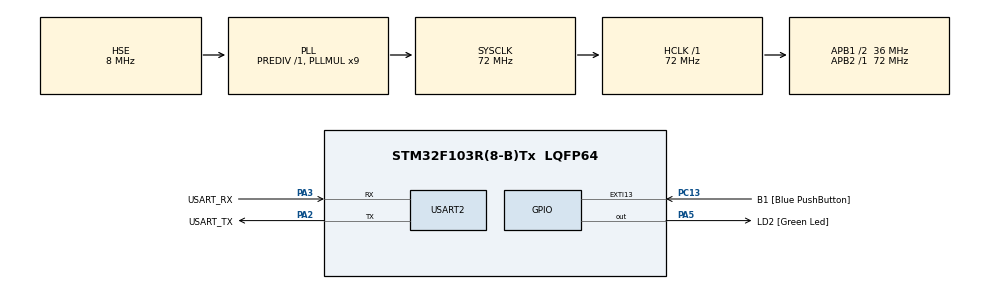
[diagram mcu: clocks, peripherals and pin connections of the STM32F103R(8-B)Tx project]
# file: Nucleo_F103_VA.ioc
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FREERTOS.Tasks01=defaultTask,24,128,StartDefaultTask,Default,NULL,Dynamic,NULL,NULL;myTask02,8,128,StartTask02,Default,NULL,Dynamic,NULL,NULL;myTask03,8,128,StartTask03,Default,NULL,Dynamic,NULL,NULL;myTask04,8,128,StartTask04,Default,NULL,Dynamic,NULL,NULL;myTask05,8,128,StartTask05,Default,NULL,Dynamic,NULL,NULL;myTask06,8,128,StartTask06,Default,NULL,Dynamic,NULL,NULL;myTask07,8,128,StartTask07,Default,NULL,Dynamic,NULL,NULL;myTask08,8,128,StartTask08,Default,NULL,Dynamic,NULL,NULL
FREERTOS.configGENERATE_RUN_TIME_STATS=1
FREERTOS.configRECORD_STACK_HIGH_ADDRESS=1
FREERTOS.configTOTAL_HEAP_SIZE=10000
Mcu.Family=STM32F1
Mcu.Name=STM32F103R(8-B)Tx
Mcu.Package=LQFP64
NVIC.EXTI15_10_IRQn=true\:5\:0\:false\:false\:true\:true\:true\:true\:true
NVIC.PriorityGroup=NVIC_PRIORITYGROUP_4
NVIC.TIM4_IRQn=true\:15\:0\:false\:false\:true\:false\:false\:true\:true
NVIC.TimeBase=TIM4_IRQn
NVIC.TimeBaseIP=TIM4
PA13.GPIO_Label=TMS
PA13.Mode=Serial_Wire
PA13.Signal=SYS_JTMS-SWDIO
PA14.GPIO_Label=TCK
PA14.Mode=Serial_Wire
PA14.Signal=SYS_JTCK-SWCLK
PA2.GPIO_Label=USART_TX
PA2.GPIO_Mode=GPIO_MODE_AF_PP
PA2.GPIO_PuPd=GPIO_NOPULL
PA2.GPIO_Speed=GPIO_SPEED_FREQ_LOW
PA2.Mode=Asynchronous
PA2.Signal=USART2_TX
PA3.GPIO_Label=USART_RX
PA3.GPIO_Mode=GPIO_MODE_AF_PP
PA3.GPIO_PuPd=GPIO_NOPULL
PA3.GPIO_Speed=GPIO_SPEED_FREQ_LOW
PA3.Mode=Asynchronous
PA3.Signal=USART2_RX
PA5.GPIO_Label=LD2 [Green Led]
PA5.GPIO_ModeDefaultOutputPP=GPIO_MODE_OUTPUT_PP
PA5.GPIO_PuPd=GPIO_NOPULL
PA5.GPIO_Speed=GPIO_SPEED_FREQ_LOW
PA5.Signal=GPIO_Output
PB3.GPIO_Label=SWO
PB3.Signal=SYS_JTDO-TRACESWO
PC13-TAMPER-RTC.GPIO_Label=B1 [Blue PushButton]
PC13-TAMPER-RTC.GPIO_PuPd=GPIO_NOPULL
PC13-TAMPER-RTC.Signal=GPXTI13
PC14-OSC32_IN.Mode=LSE-External-Oscillator
PC14-OSC32_IN.Signal=RCC_OSC32_IN
PC15-OSC32_OUT.Mode=LSE-External-Oscillator
PC15-OSC32_OUT.Signal=RCC_OSC32_OUT
PD0-OSC_IN.Mode=HSE-External-Clock-Source
PD0-OSC_IN.Signal=RCC_OSC_IN
PD1-OSC_OUT.Mode=HSE-External-Clock-Source
PD1-OSC_OUT.Signal=RCC_OSC_OUT
ProjectManager.HeapSize=0x200
ProjectManager.StackSize=0x400
ProjectManager.TargetToolchain=CMake
RCC.AHBFreq_Value=72000000
RCC.APB1CLKDivider=RCC_HCLK_DIV2
RCC.APB1Freq_Value=36000000
RCC.APB1TimFreq_Value=72000000
RCC.APB2Freq_Value=72000000
RCC.APB2TimFreq_Value=72000000
RCC.HCLKFreq_Value=72000000
RCC.PLLMUL=RCC_PLL_MUL9
RCC.PLLSourceVirtual=RCC_PLLSOURCE_HSE
RCC.RTCClockSelection=RCC_RTCCLKSOURCE_LSE
RCC.SYSCLKFreq_VALUE=72000000
RCC.SYSCLKSource=RCC_SYSCLKSOURCE_PLLCLK
RCC.USBFreq_Value=72000000
USART2.VirtualMode=VM_ASYNC
VP_FREERTOS_VS_CMSIS_V2.Mode=CMSIS_V2
VP_SYS_VS_tim4.Mode=TIM4
board=NUCLEO-F103RB

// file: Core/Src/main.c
/* USER CODE BEGIN Header */
/**
 ******************************************************************************
 * @file           : main.c
 * @brief          : Main program body
 ******************************************************************************
 * @attention
 *
 * Copyright (c) 2025 STMicroelectronics.
 * All rights reserved.
 *
 * This software is licensed under terms that can be found in the LICENSE file
 * in the root directory of this software component.
 * If no LICENSE file comes with this software, it is provided AS-IS.
 *
 ******************************************************************************
 */
/* USER CODE END Header */
#include "main.h"
#include "cmsis_os.h"
#include "usart.h"
#include "gpio.h"

/* USER CODE BEGIN Includes */
#include "ViewAlyzer.h"
/* USER CODE END Includes */

void SystemClock_Config(void);
void MX_FREERTOS_Init(void);

/* USER CODE BEGIN 0 */
static void SWO_Init(uint32_t cpu_hz, uint32_t swo_baud, uint32_t port)
{
  // 0) DBG + GPIO
#ifdef DBGMCU_CR_TRACE_IOEN
  DBGMCU->CR |= DBGMCU_CR_TRACE_IOEN; // enable trace pins
#ifdef DBGMCU_CR_TRACE_MODE
  DBGMCU->CR &= ~DBGMCU_CR_TRACE_MODE; // 00 = async SWO (not sync TRACE)
#endif
#endif

  // 1) Enable trace fabric
  CoreDebug->DEMCR |= CoreDebug_DEMCR_TRCENA_Msk; // TRCENA

  // 2) Lock things down while we configure
#ifdef ITM_LAR
  ITM->LAR = 0xC5ACCE55;
#endif
  ITM->TCR = 0; // disable ITM while configuring
  ITM->TPR = 0; // allow all stimulus ports (unprivileged OK)
  ITM->TER = 0; // disable all ports for now

#ifdef DBGMCU_CR_TRACE_IOEN
  DBGMCU->CR |= DBGMCU_CR_TRACE_IOEN; // enable trace pins
#ifdef DBGMCU_CR_TRACE_MODE
  DBGMCU->CR &= ~DBGMCU_CR_TRACE_MODE; // 00b = async SWO (important!)
#endif
#endif

  // 3) TPIU for async NRZ @ exact baud
  uint32_t acpr = (swo_baud ? (cpu_hz / swo_baud) - 1u : 0u);
  TPI->ACPR = acpr;  // *** use the math; don't hard-code ***
  TPI->SPPR = 0x2;   // 2 = NRZ (UART) ; 1 = Manchester
  TPI->FFCR = 0x100; // disable continuous formatter
  TPI->CSPSR = 1;    // port size = 1 bit (good default)

  // 4) Enable your ITM port and the ITM itself
  ITM->TER = (1u << port);
  ITM->TCR = ITM_TCR_ITMENA_Msk; // *** ITMENA is bit 0 ***
                                 // optional: timestamps, sync:
                                 // ITM->TCR |= ITM_TCR_TSENA_Msk | ITM_TCR_SYNCENA_Msk;
}
/* USER CODE END 0 */

int main(void)
{

  /* MCU Configuration--------------------------------------------------------*/

  /* Reset of all peripherals, Initializes the Flash interface and the Systick. */
  HAL_Init();

  /* Configure the system clock */
  SystemClock_Config();

  /* Initialize all configured peripherals */
  MX_GPIO_Init();
  MX_USART2_UART_Init();
  /* USER CODE BEGIN 2 */
  HAL_Delay(1000);
  SWO_Init(SystemCoreClock, 2000000u, VA_ITM_PORT);
  VA_Init(SystemCoreClock);                                           // Initialize ViewAlyzer with 2 MHz SWO frequency
  VA_RegisterUserTrace(42, "Sine Wave", VA_USER_TYPE_HISTOGRAM);      // Task02: Sine value from sensor
  VA_RegisterUserTrace(43, "Tick Counter", VA_USER_TYPE_GRAPH);       // Task05: HAL tick counter
  VA_RegisterUserTrace(44, "Task08 Toggle", VA_USER_TYPE_TOGGLE);     // Task08: Function entry/exit toggle
  VA_RegisterUserFunction(45, "Custom Function");                     // Task08: Function timing
  VA_RegisterUserTrace(46, "Processed Data", VA_USER_TYPE_HISTOGRAM); // Task03: Processed sensor values
  VA_RegisterUserTrace(47, "Shared Counter", VA_USER_TYPE_COUNTER);   // Task05: Mutex-protected shared counter
  VA_RegisterUserTrace(48, "Protected Op", VA_USER_TYPE_GRAPH);       // Task07: Mutex-protected operation result
  VA_RegisterUserTrace(49, "Local Counter", VA_USER_TYPE_GRAPH);      // Task08: Local copy of shared counter
  VA_RegisterUserTrace(50, "Workload Profile", VA_USER_TYPE_BAR);     // WorkloadManager: Current profile index

  // Contention test task traces
  VA_RegisterUserTrace(51, "Low Prio Access", VA_USER_TYPE_COUNTER); // ContentionLow: How many times accessed mutex
  VA_RegisterUserTrace(52, "Med Prio Access", VA_USER_TYPE_COUNTER); // ContentionMed: How many times accessed mutex (-1 = timeout)
  VA_RegisterUserTrace(53, "High Prio Wait", VA_USER_TYPE_GRAPH);    // ContentionHigh: Wait time in ticks to get mutex

  /* USER CODE END 2 */

  /* Init scheduler */
  osKernelInitialize();

  /* Call init function for freertos objects (in cmsis_os2.c) */
  MX_FREERTOS_Init();

  /* Start scheduler */
  osKernelStart();

  /* We should never get here as control is now taken by the scheduler */

  /* Infinite loop */
  while (1)
  {

  }
}

void SystemClock_Config(void)
{
  RCC_OscInitTypeDef RCC_OscInitStruct = {0};
  RCC_ClkInitTypeDef RCC_ClkInitStruct = {0};

  /** Initializes the RCC Oscillators according to the specified parameters
   * in the RCC_OscInitTypeDef structure.
   */
  RCC_OscInitStruct.OscillatorType = RCC_OSCILLATORTYPE_HSE;
  RCC_OscInitStruct.HSEState = RCC_HSE_BYPASS;
  RCC_OscInitStruct.HSEPredivValue = RCC_HSE_PREDIV_DIV1;
  RCC_OscInitStruct.HSIState = RCC_HSI_ON;
  RCC_OscInitStruct.PLL.PLLState = RCC_PLL_ON;
  RCC_OscInitStruct.PLL.PLLSource = RCC_PLLSOURCE_HSE;
  RCC_OscInitStruct.PLL.PLLMUL = RCC_PLL_MUL9;
  if (HAL_RCC_OscConfig(&RCC_OscInitStruct) != HAL_OK)
  {
    Error_Handler();
  }

  /** Initializes the CPU, AHB and APB buses clocks
   */
  RCC_ClkInitStruct.ClockType = RCC_CLOCKTYPE_HCLK | RCC_CLOCKTYPE_SYSCLK | RCC_CLOCKTYPE_PCLK1 | RCC_CLOCKTYPE_PCLK2;
  RCC_ClkInitStruct.SYSCLKSource = RCC_SYSCLKSOURCE_PLLCLK;
  RCC_ClkInitStruct.AHBCLKDivider = RCC_SYSCLK_DIV1;
  RCC_ClkInitStruct.APB1CLKDivider = RCC_HCLK_DIV2;
  RCC_ClkInitStruct.APB2CLKDivider = RCC_HCLK_DIV1;

  if (HAL_RCC_ClockConfig(&RCC_ClkInitStruct, FLASH_LATENCY_2) != HAL_OK)
  {
    Error_Handler();
  }
}

void HAL_TIM_PeriodElapsedCallback(TIM_HandleTypeDef *htim)
{
  if (htim->Instance == TIM4)
  {
    HAL_IncTick();
  }
}

void Error_Handler(void)
{
  __disable_irq();
  while (1)
  {
  }
}

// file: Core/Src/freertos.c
/* USER CODE BEGIN Header */
/**
 ******************************************************************************
 * File Name          : freertos.c
 * Description        : Code for freertos applications - MODIFIED FOR TIMING TEST
 ******************************************************************************
 * @attention
 *
 * Copyright (c) 2025 STMicroelectronics.
 * All rights reserved.
 *
 * This software is licensed under terms that can be found in the LICENSE file
 * in the root directory of this software component.
 * If no LICENSE file comes with this software, it is provided AS-IS.
 *
 ******************************************************************************
 */
/* USER CODE END Header */

#include "FreeRTOS.h"
#include "task.h"
#include "main.h"
#include "queue.h"
#include "semphr.h"
#include "timers.h"
// Remove CMSIS-OS to use native FreeRTOS APIs
// #include "cmsis_os.h"

/* USER CODE BEGIN Includes */
#include "stdio.h"      // For printf
#include "ViewAlyzer.h" // For profiler functions
#include <math.h>
#include <stdlib.h> // For rand()

// Ensure DWT cycle counter is enabled *before* scheduler starts!
// Typically in main() before MX_FREERTOS_Init():
// CoreDebug->DEMCR |= CoreDebug_DEMCR_TRCENA_Msk;
// DWT->CTRL |= DWT_CTRL_CYCCNTENA_Msk;
// DWT->CYCCNT = 0; // Optional: Reset counter

#define GET_TIMESTAMP() (DWT->CYCCNT)
#define TIMESTAMP_FORMAT_STR "%lu" // Format specifier for uint32_t

// Define a workload size. Adjust this based on your CPU speed
// to get a measurable duration (e.g., microseconds to milliseconds).
// Start with a value like 100000 and adjust up or down.
#define WORKLOAD_ITERATIONS 1000

volatile uint16_t sineVal = 0;
volatile uint16_t invertedSineVal = 0;
volatile uint16_t sine_index = 0;
uint16_t get_next_sine_value(void)
{
  // Generate a sine wave value between 0 and 200
  // sine_index goes from 0 to 359 (degrees)
  float radians = (sine_index * 2.0f * (float)M_PI) / 360.0f;
  float sine = sinf(radians);                                   // -1.0 to 1.0
  volatile uint16_t value = (uint16_t)((sine + 1.0f) * 100.0f); // 0 to 200

  sine_index = (sine_index + 1) % 360;
  return value;
}

/* USER CODE END Includes */

/* USER CODE BEGIN Variables */
#define NUM_TASKS_TO_MANAGE 4 // Number of tasks whose workload we'll manage
volatile uint32_t task_workloads[NUM_TASKS_TO_MANAGE] = {1000, 1000, 1000, 1000}; // Default workloads

// Define some workload profiles for different phases
const uint32_t workload_profiles[][NUM_TASKS_TO_MANAGE] = {
    {4000, 1000, 1000, 6000}, // Profile 1: Task 2 busy, Task 8 very busy
    {1000, 4000, 6000, 1000}, // Profile 2: Task 5 busy, Task 7 very busy
    {6000, 6000, 1000, 1000}, // Profile 3: Task 2 and 5 busy
    {1000, 1000, 1000, 1000}, // Profile 4: Baseline workloads
    {2000, 5000, 3000, 4000}, // Profile 5: Mixed workloads
    {5000, 2000, 4000, 3000}, // Profile 6: Mixed workloads
    {3000, 4000, 2000, 5000}, // Profile 7: Mixed workloads
    {4000, 3000, 5000, 2000}  // Profile 8: Mixed workloads
};
#define NUM_PROFILES 8
volatile int current_profile = 0;

/* USER CODE END Variables */

// Native FreeRTOS handles - replacing CMSIS-OS types
TaskHandle_t defaultTaskHandle = NULL;
TaskHandle_t myTask02Handle = NULL;
TaskHandle_t myTask03Handle = NULL;
TaskHandle_t myTask04Handle = NULL;
TaskHandle_t myTask05Handle = NULL;
TaskHandle_t myTask06Handle = NULL;
TaskHandle_t myTask07Handle = NULL;
TaskHandle_t myTask08Handle = NULL;
TaskHandle_t workloadManagerTaskHandle = NULL;
TaskHandle_t contentionHighPrioTaskHandle = NULL;  // High priority contention test task
TaskHandle_t contentionMedPrioTaskHandle = NULL;   // Medium priority contention test task
TaskHandle_t contentionLowPrioTaskHandle = NULL;   // Low priority contention test task

// Native FreeRTOS synchronization objects
QueueHandle_t dataQueue = NULL;          // For passing data between tasks
QueueHandle_t commandQueue = NULL;       // For sending commands to WorkloadManager
SemaphoreHandle_t binarySemaphore = NULL;       // Binary semaphore for signaling
SemaphoreHandle_t countingSemaphore = NULL;     // Counting semaphore for resource counting
SemaphoreHandle_t sharedResourceMutex = NULL;   // Mutex for protecting shared resources
SemaphoreHandle_t printMutex = NULL;            // Mutex for protecting printf/debug output
SemaphoreHandle_t contentionTestMutex = NULL;   // Mutex specifically for testing contention tracking

// Data structures for queue communication
typedef struct {
    uint32_t sensorValue;
    uint32_t timestamp;
    uint8_t taskId;
} SensorData_t;

typedef struct {
    uint8_t profileIndex;
    uint32_t parameter;
} WorkloadCommand_t;

// Shared resources protected by mutex
volatile uint32_t sharedCounter = 0;
volatile float sharedAccumulator = 0.0f;

// Contention test variables
volatile uint32_t contentionCounter = 0;
volatile uint32_t highPrioAccess = 0;
volatile uint32_t medPrioAccess = 0;
volatile uint32_t lowPrioAccess = 0;

/* USER CODE BEGIN FunctionPrototypes */
extern void ITM_Print(const char *ptr); // Assuming you might use this
void StartTimingTestTask(void *argument);
void WorkloadManagerTask(void *argument);
/* USER CODE END FunctionPrototypes */

void StartDefaultTask(void *argument);
void StartTask02(void *argument);
void StartTask03(void *argument);
void StartTask04(void *argument);
void StartTask05(void *argument);
void StartTask06(void *argument);
void StartTask07(void *argument);
void StartTask08(void *argument);
void ContentionHighPrioTask(void *argument);
void ContentionMedPrioTask(void *argument);
void ContentionLowPrioTask(void *argument);

void MX_FREERTOS_Init(void); /* (MISRA C 2004 rule 8.1) */

/* Hook prototypes */
void configureTimerForRunTimeStats(void);
unsigned long getRunTimeCounterValue(void);

/* USER CODE BEGIN 1 */
/* Functions needed when configGENERATE_RUN_TIME_STATS is on */
__weak void configureTimerForRunTimeStats(void)
{
  // If using FreeRTOS Run Time Stats, ensure it's configured,
  // potentially using DWT as well, but separate from ViewAlyzer's direct use.
  // CoreDebug->DEMCR |= CoreDebug_DEMCR_TRCENA_Msk;
  // DWT->CTRL |= DWT_CTRL_CYCCNTENA_Msk;
}

__weak unsigned long getRunTimeCounterValue(void)
{
  // return DWT->CYCCNT; // If using DWT for run time stats
  return 0;
}
/* USER CODE END 1 */

void MX_FREERTOS_Init(void)
{
  /* USER CODE BEGIN Init */
  // --- IMPORTANT ---
  // Ensure DWT Cycle Counter is Enabled HERE or in main() before this function!
  // Example (should be done only once):
  // if (!(CoreDebug->DEMCR & CoreDebug_DEMCR_TRCENA_Msk)) { // Enable TRCENA
  //     CoreDebug->DEMCR |= CoreDebug_DEMCR_TRCENA_Msk;
  // }
  // if (!(DWT->CTRL & DWT_CTRL_CYCCNTENA_Msk)) { // Enable CYCCNT
  //     DWT->CTRL |= DWT_CTRL_CYCCNTENA_Msk;
  // }
  // DWT->CYCCNT = 0; // Optional reset
  // --- End Important ---

  /* USER CODE END Init */

  /* USER CODE BEGIN RTOS_MUTEX */
  // Create mutexes using native FreeRTOS API
  // Note: ViewAlyzer will automatically track these via trace macros
  sharedResourceMutex = xSemaphoreCreateMutex();
  printMutex = xSemaphoreCreateMutex();
  contentionTestMutex = xSemaphoreCreateMutex(); // Mutex for contention testing
  /* USER CODE END RTOS_MUTEX */

  /* USER CODE BEGIN RTOS_SEMAPHORES */
  // Create semaphores using native FreeRTOS API
  // Note: ViewAlyzer will automatically track these via trace macros
  binarySemaphore = xSemaphoreCreateBinary();
  countingSemaphore = xSemaphoreCreateCounting(5, 0); // Max 5 resources, start with 0
  /* USER CODE END RTOS_SEMAPHORES */

  /* Create the queue(s) */
  /* Create queues using native FreeRTOS API */
  // Note: ViewAlyzer will automatically track these via trace macros
  dataQueue = xQueueCreate(10, sizeof(SensorData_t));
  commandQueue = xQueueCreate(5, sizeof(WorkloadCommand_t));

  /* Create the thread(s) using native FreeRTOS API */
  xTaskCreate(StartDefaultTask, "DefaultTask", 128, NULL, tskIDLE_PRIORITY + 2, &defaultTaskHandle);
  xTaskCreate(StartTask02, "SensorTask", 128, NULL, tskIDLE_PRIORITY + 1, &myTask02Handle);
  xTaskCreate(StartTask03, "ProcessorTask", 128, NULL, tskIDLE_PRIORITY + 1, &myTask03Handle);
  xTaskCreate(StartTask04, "NotifierTask", 128, NULL, tskIDLE_PRIORITY + 1, &myTask04Handle);
  xTaskCreate(StartTask05, "StackTestTask", 256, NULL, tskIDLE_PRIORITY + 1, &myTask05Handle); // Larger stack for testing
  xTaskCreate(StartTask06, "ConsumerTask", 128, NULL, tskIDLE_PRIORITY + 1, &myTask06Handle);
  xTaskCreate(StartTask07, "WorkerTask", 128, NULL, tskIDLE_PRIORITY + 1, &myTask07Handle);
  xTaskCreate(StartTask08, "CalculatorTask", 128, NULL, tskIDLE_PRIORITY + 1, &myTask08Handle);
  xTaskCreate(WorkloadManagerTask, "WorkloadManager", 256, NULL, tskIDLE_PRIORITY + 3, &workloadManagerTaskHandle); // Higher priority

  // Contention test tasks with different priorities to showcase mutex contention tracking
  xTaskCreate(ContentionHighPrioTask, "ContentionHigh", 128, NULL, tskIDLE_PRIORITY + 5, &contentionHighPrioTaskHandle); // Highest priority
  xTaskCreate(ContentionMedPrioTask, "ContentionMed", 128, NULL, tskIDLE_PRIORITY + 3, &contentionMedPrioTaskHandle);    // Medium priority
  xTaskCreate(ContentionLowPrioTask, "ContentionLow", 128, NULL, tskIDLE_PRIORITY + 1, &contentionLowPrioTaskHandle);    // Low priority

}

void StartDefaultTask(void *argument)
{
  /* USER CODE BEGIN StartDefaultTask */
  for (;;)
  {
    // Release binary semaphore for other tasks to use
    if (binarySemaphore != NULL)
    {
      xSemaphoreGive(binarySemaphore);
    }

    // Give counting semaphore resources periodically
    if (countingSemaphore != NULL)
    {
      xSemaphoreGive(countingSemaphore);
      xSemaphoreGive(countingSemaphore);
    }

    // Send periodic commands to WorkloadManager
    if (commandQueue != NULL)
    {
      WorkloadCommand_t cmd = {
        .profileIndex = (HAL_GetTick() / 5000) % NUM_PROFILES, // Change profile every 5 seconds
        .parameter = HAL_GetTick()
      };

      // Try to send command (non-blocking)
      if (xQueueSend(commandQueue, &cmd, 0) == pdPASS)
      {
        // Command sent successfully
      }
    }

    vTaskDelay(pdMS_TO_TICKS(500)); // Use native FreeRTOS delay
  }
  /* USER CODE END StartDefaultTask */
}

void StartTask02(void *argument)
{
  /* USER CODE BEGIN StartTask02 */
  for (;;)
  {
    // Generate sensor data and send to queue
    sineVal = get_next_sine_value(); // Get next sine value
    VA_LogTrace(42, sineVal);    // Log the sine value trace

    // Create sensor data structure
    SensorData_t sensorData = {
      .sensorValue = sineVal,
      .timestamp = HAL_GetTick(),
      .taskId = 2
    };

    // Send data to queue for other tasks to process
    if (dataQueue != NULL)
    {
      if (xQueueSend(dataQueue, &sensorData, pdMS_TO_TICKS(10)) == pdPASS)
      {
        // Data sent successfully
      }
    }

    // Wait for notification from Task04
    ulTaskNotifyTake(pdTRUE, pdMS_TO_TICKS(1));

    // Dynamic workload
    volatile uint32_t workload = task_workloads[0];
    for (volatile uint32_t i = 0; i < workload; i++)
    {
      // Simple calculation to consume CPU time
      __NOP();
    }

    vTaskDelay(pdMS_TO_TICKS(10)); // Use native FreeRTOS delay
  }
  /* USER CODE END StartTask02 */
}

void StartTask03(void *argument)
{
  /* USER CODE BEGIN StartTask03 */
  SensorData_t receivedData;

  for (;;)
  {
    // Wait for data from queue (blocking with timeout)
    if (dataQueue != NULL)
    {
      if (xQueueReceive(dataQueue, &receivedData, pdMS_TO_TICKS(100)) == pdPASS)
      {
        // Process received sensor data
        // Use mutex to protect shared resource access
        if (xSemaphoreTake(sharedResourceMutex, pdMS_TO_TICKS(10)) == pdPASS)
        {
          sharedCounter++;
          sharedAccumulator += receivedData.sensorValue;
          xSemaphoreGive(sharedResourceMutex);
        }

        // Log processed data
        VA_LogTrace(46, receivedData.sensorValue);
      }
    }

    // Also wait for notification from Task 4
    ulTaskNotifyTake(pdTRUE, pdMS_TO_TICKS(1));
    vTaskDelay(pdMS_TO_TICKS(100));
  }
  /* USER CODE END StartTask03 */
}

void StartTask04(void *argument)
{
  /* USER CODE BEGIN StartTask04 */
  volatile uint32_t ulValue = 0; // Notification value to send
  for (;;)
  {
    // Send notifications to multiple tasks using native FreeRTOS API
    if (myTask08Handle != NULL)
    {
      xTaskNotify(myTask08Handle, ulValue++, eSetValueWithOverwrite);
    }
    if (myTask05Handle != NULL)
    {
      xTaskNotify(myTask05Handle, ulValue++, eSetValueWithOverwrite);
    }
    if (myTask03Handle != NULL)
    {
      xTaskNotify(myTask03Handle, ulValue++, eSetValueWithOverwrite);
    }
    if (myTask02Handle != NULL)
    {
      xTaskNotify(myTask02Handle, ulValue++, eSetValueWithOverwrite);
    }
    if (myTask06Handle != NULL)
    {
      xTaskNotify(myTask06Handle, ulValue++, eSetValueWithOverwrite);
    }

    vTaskDelay(pdMS_TO_TICKS(100)); // Use native FreeRTOS delay
  }
  /* USER CODE END StartTask04 */
}

void StartTask05(void *argument)
{
  /* USER CODE BEGIN StartTask05 */
  // Seed for simple pseudo-random number generation
  static uint32_t seed = 12345;

  for (;;)
  {
    // Generate a pseudo-random number to vary stack usage
    seed = seed * 1103515245 + 12345;            // Simple LCG
    uint32_t random_val = (seed >> 16) & 0x7FFF; // Get 15-bit value

    // Use random amount of stack (10 to 80 words, leaving safety margin)
    uint32_t stack_words = 10 + (random_val % 71); // 10-80 words

    // Create variable-sized array on stack to consume stack space
    // Note: This is a non-standard extension but works with GCC
    volatile uint32_t stack_consumer[stack_words];

    // Wait for notification from Task04
    ulTaskNotifyTake(pdTRUE, pdMS_TO_TICKS(1));

    // Write to the array to ensure it's actually allocated and used
    for (uint32_t i = 0; i < stack_words; i++)
    {
      stack_consumer[i] = i + HAL_GetTick();
    }

    // Do some computation with the array to prevent optimization
    volatile uint32_t sum = 0;
    for (uint32_t i = 0; i < stack_words; i++)
    {
      sum += stack_consumer[i];
    }

    // Use mutex to safely access shared resources
    if (xSemaphoreTake(sharedResourceMutex, pdMS_TO_TICKS(100)) == pdPASS)
    {
      sharedCounter += stack_words;
      sharedAccumulator += sum;

      // Log the shared counter value
      VA_LogTrace(47, sharedCounter);

      xSemaphoreGive(sharedResourceMutex);
    }

    // Dynamic workload
    volatile uint32_t workload = task_workloads[1];
    for (volatile uint32_t i = 0; i < workload; i++)
    {
      // Simple calculation to consume CPU time
      __NOP();
    }

    // Log the amount of stack used for debugging
    VA_LogTrace(43, HAL_GetTick()); // Log tick counter

    vTaskDelay(pdMS_TO_TICKS(10)); // Use native FreeRTOS delay
  }
  /* USER CODE END StartTask05 */
}

void StartTask06(void *argument)
{
  /* USER CODE BEGIN StartTask06 */
  for (;;)
  {
    // Wait for notification from Task04
    ulTaskNotifyTake(pdTRUE, pdMS_TO_TICKS(1));

    // Wait for binary semaphore from defaultTask
    if (binarySemaphore != NULL)
    {
      if (xSemaphoreTake(binarySemaphore, pdMS_TO_TICKS(1000)) == pdPASS)
      {
        // Do some work when semaphore is acquired
        // This will create timing events in the profiler
        volatile uint32_t work = 0;
        for (int i = 0; i < 1000; i++)
        {
          work += i;
        }

        // Try to take a counting semaphore resource
        if (countingSemaphore != NULL)
        {
          if (xSemaphoreTake(countingSemaphore, pdMS_TO_TICKS(10)) == pdPASS)
          {
            // Use the resource for some time
            vTaskDelay(pdMS_TO_TICKS(5));

            // Release the counting semaphore resource
            xSemaphoreGive(countingSemaphore);
          }
        }
      }
    }

    vTaskDelay(pdMS_TO_TICKS(10)); // Use native FreeRTOS delay
  }
  /* USER CODE END StartTask06 */
}

void StartTask07(void *argument)
{
  /* USER CODE BEGIN StartTask07 */
  for (;;)
  {
    // Use print mutex to safely output debug information
    if (xSemaphoreTake(printMutex, pdMS_TO_TICKS(100)) == pdPASS)
    {
      // Safe to use printf or other print functions here
      // In this case, we'll just do some computation to simulate protected operation
      volatile uint32_t protected_operation = HAL_GetTick() * 2;
      VA_LogTrace(48, protected_operation); // Log protected operation result

      xSemaphoreGive(printMutex);
    }

    // Dynamic workload
    volatile uint32_t workload = task_workloads[2];
    for (volatile uint32_t i = 0; i < workload; i++)
    {
      // Simple calculation to consume CPU time
      __NOP();
    }

    vTaskDelay(pdMS_TO_TICKS(100)); // Use native FreeRTOS delay
  }
  /* USER CODE END StartTask07 */
}

void StartTask08(void *argument)
{
  /* USER CODE BEGIN StartTask08 */
  for (;;)
  {
    // Wait for notification from Task04 (blocking with max delay)
    ulTaskNotifyTake(pdTRUE, portMAX_DELAY);

    // Log event start
   // VA_LogToggle(44, TOGGLE_HIGH);
    VA_LogEvent(45, USER_EVENT_START);

    // Get inverted sine value
    invertedSineVal = 200 - sineVal;

    // Access shared resource safely using mutex
    if (xSemaphoreTake(sharedResourceMutex, pdMS_TO_TICKS(50)) == pdPASS)
    {
      // Read shared data safely
      volatile uint32_t localCounter = sharedCounter;
      volatile float localAccumulator = sharedAccumulator;

      // Log the shared values
      VA_LogTrace(49, localCounter);

      xSemaphoreGive(sharedResourceMutex);
    }

    volatile uint32_t wastecycles = 0;
    for (volatile uint32_t i = 0; i < WORKLOAD_ITERATIONS; i++)
    {
      wastecycles += i; // Simple workload to create timing
    }

    // Dynamic workload
    volatile uint32_t workload = task_workloads[3];
    for (volatile uint32_t i = 0; i < workload; i++)
    {
      // Simple calculation to consume CPU time
      __NOP();
    }

    // Log event end
   // VA_LogToggle(44, TOGGLE_LOW);
    VA_LogEvent(45, USER_EVENT_END);

    vTaskDelay(pdMS_TO_TICKS(10)); // Use native FreeRTOS delay
  }
  /* USER CODE END StartTask08 */
}

void WorkloadManagerTask(void *argument)
{
  /* USER CODE BEGIN WorkloadManagerTask */
  WorkloadCommand_t receivedCommand;
  TickType_t lastProfileChange = xTaskGetTickCount();

  for (;;)
  {
    // Check for commands from command queue (non-blocking)
    if (commandQueue != NULL)
    {
      if (xQueueReceive(commandQueue, &receivedCommand, pdMS_TO_TICKS(100)) == pdPASS)
      {
        // Process received command
        if (receivedCommand.profileIndex < NUM_PROFILES)
        {
          current_profile = receivedCommand.profileIndex;

          // Update the workloads for the managed tasks
          for (int i = 0; i < NUM_TASKS_TO_MANAGE; i++)
          {
            task_workloads[i] = workload_profiles[current_profile][i];
          }

          VA_LogTrace(50, current_profile); // Log the current profile index
          lastProfileChange = xTaskGetTickCount();
        }
      }
    }

    // Automatic profile change every 2.5 seconds if no commands received
    if ((xTaskGetTickCount() - lastProfileChange) > pdMS_TO_TICKS(2500))
    {
      current_profile = rand() % NUM_PROFILES; // Pick a random profile

      // Update the workloads for the managed tasks
      for (int i = 0; i < NUM_TASKS_TO_MANAGE; i++)
      {
        task_workloads[i] = workload_profiles[current_profile][i];
      }

      VA_LogTrace(50, current_profile); // Log the current profile index
      lastProfileChange = xTaskGetTickCount();
    }

    vTaskDelay(pdMS_TO_TICKS(100)); // Check every 100ms
  }
  /* USER CODE END WorkloadManagerTask */
}

/* USER CODE BEGIN Application */

/* USER CODE BEGIN Header_ContentionLowPrioTask */
/**
 * @brief Low priority task that holds mutex for extended periods
 *        This will cause contention when higher priority tasks try to acquire
 * @param argument: Not used
 * @retval None
 */
/* USER CODE END Header_ContentionLowPrioTask */
void ContentionLowPrioTask(void *argument)
{
  /* USER CODE BEGIN ContentionLowPrioTask */
  TickType_t xLastWakeTime = xTaskGetTickCount();

  for (;;)
  {
    // This low priority task acquires the mutex and holds it for a while
    if (xSemaphoreTake(contentionTestMutex, portMAX_DELAY) == pdPASS)
    {
      // Simulate critical section work - hold mutex for 50ms
      // This will cause high-priority tasks to block and generate contention events
      lowPrioAccess++;
      contentionCounter++;

      // Log that low priority task has the mutex
      VA_LogTrace(51, (int32_t)lowPrioAccess);

      // Do some "important" work while holding the mutex
      volatile uint32_t work = 0;
      for (int i = 0; i < 50000; i++)
      {
        work += i;
      }

      // Hold the mutex for 50ms to ensure contention
      vTaskDelay(pdMS_TO_TICKS(50));

      xSemaphoreGive(contentionTestMutex);
    }

    // Run every 200ms
    vTaskDelayUntil(&xLastWakeTime, pdMS_TO_TICKS(200));
  }
  /* USER CODE END ContentionLowPrioTask */
}

/* USER CODE BEGIN Header_ContentionMedPrioTask */
/**
 * @brief Medium priority task that competes for the mutex
 *        Will experience contention when low-priority task holds mutex
 * @param argument: Not used
 * @retval None
 */
/* USER CODE END Header_ContentionMedPrioTask */
void ContentionMedPrioTask(void *argument)
{
  /* USER CODE BEGIN ContentionMedPrioTask */
  TickType_t xLastWakeTime = xTaskGetTickCount();

  // Offset start time to create contention
  vTaskDelay(pdMS_TO_TICKS(25));

  for (;;)
  {
    // Try to acquire mutex - will block if low priority task has it
    if (xSemaphoreTake(contentionTestMutex, pdMS_TO_TICKS(100)) == pdPASS)
    {
      medPrioAccess++;
      contentionCounter++;

      // Log that medium priority task has the mutex
      VA_LogTrace(52, (int32_t)medPrioAccess);

      // Do some quick work while holding the mutex (10ms)
      volatile uint32_t work = 0;
      for (int i = 0; i < 10000; i++)
      {
        work += i;
      }

      vTaskDelay(pdMS_TO_TICKS(10));

      xSemaphoreGive(contentionTestMutex);
    }
    else
    {
      // Timeout waiting for mutex - log the failed attempt
      VA_LogTrace(52, -1); // Negative value indicates timeout
    }

    // Run every 150ms
    vTaskDelayUntil(&xLastWakeTime, pdMS_TO_TICKS(150));
  }
  /* USER CODE END ContentionMedPrioTask */
}

/* USER CODE BEGIN Header_ContentionHighPrioTask */
/**
 * @brief High priority task that urgently needs the mutex
 *        This will showcase priority inheritance when blocked by low-priority task
 * @param argument: Not used
 * @retval None
 */
/* USER CODE END Header_ContentionHighPrioTask */
void ContentionHighPrioTask(void *argument)
{
  /* USER CODE BEGIN ContentionHighPrioTask */
  TickType_t xLastWakeTime = xTaskGetTickCount();

  // Offset start time to maximize contention scenarios
  vTaskDelay(pdMS_TO_TICKS(40));

  for (;;)
  {
    // High priority task tries to acquire mutex urgently
    // When blocked by low-priority task, priority inheritance should kick in
    TickType_t startTime = xTaskGetTickCount();

    if (xSemaphoreTake(contentionTestMutex, pdMS_TO_TICKS(100)) == pdPASS)
    {
      TickType_t waitTime = xTaskGetTickCount() - startTime;
      highPrioAccess++;
      contentionCounter++;

      // Log that high priority task has the mutex
      // Use wait time as value to see how long we blocked
      VA_LogTrace(53, (int32_t)waitTime);

      // High priority task does critical work quickly (5ms)
      volatile uint32_t work = 0;
      for (int i = 0; i < 5000; i++)
      {
        work += i;
      }

      vTaskDelay(pdMS_TO_TICKS(5));

      xSemaphoreGive(contentionTestMutex);
    }
    else
    {
      // Timeout - this is bad for high priority task!
      VA_LogTrace(53, -999); // Large negative value indicates critical timeout
    }
   // HAL_GPIO_TogglePin(LD2_GPIO_Port, LD2_Pin); // Toggle LED to visualize activity
    // Run every 120ms (creates interesting contention patterns with other tasks)
    vTaskDelayUntil(&xLastWakeTime, pdMS_TO_TICKS(120));
  }
  /* USER CODE END ContentionHighPrioTask */
}

/* USER CODE END Application */
